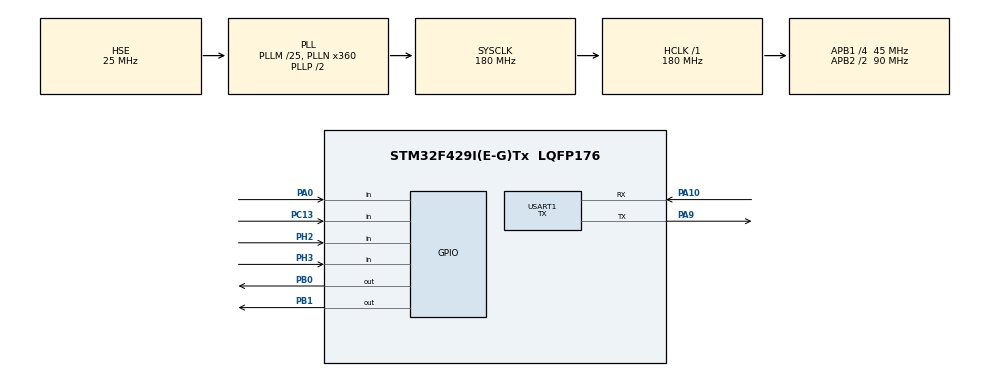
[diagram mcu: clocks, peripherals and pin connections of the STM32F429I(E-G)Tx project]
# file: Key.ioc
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Mcu.Family=STM32F4
Mcu.Name=STM32F429I(E-G)Tx
Mcu.Package=LQFP176
NVIC.PriorityGroup=NVIC_PRIORITYGROUP_4
PA0/WKUP.GPIO_PuPd=GPIO_PULLDOWN
PA0/WKUP.Signal=GPIO_Input
PA10.Mode=Asynchronous
PA10.Signal=USART1_RX
PA9.Mode=Asynchronous
PA9.Signal=USART1_TX
PB0.GPIO_ModeDefaultOutputPP=GPIO_MODE_OUTPUT_PP
PB0.GPIO_PuPd=GPIO_PULLUP
PB0.GPIO_Speed=GPIO_SPEED_FREQ_LOW
PB0.PinState=GPIO_PIN_SET
PB0.Signal=GPIO_Output
PB1.GPIO_PuPd=GPIO_PULLUP
PB1.GPIO_Speed=GPIO_SPEED_FREQ_LOW
PB1.PinState=GPIO_PIN_SET
PB1.Signal=GPIO_Output
PC13.GPIO_PuPd=GPIO_PULLUP
PC13.Signal=GPIO_Input
PH0/OSC_IN.Mode=HSE-External-Oscillator
PH0/OSC_IN.Signal=RCC_OSC_IN
PH1/OSC_OUT.Mode=HSE-External-Oscillator
PH1/OSC_OUT.Signal=RCC_OSC_OUT
PH2.GPIO_PuPd=GPIO_PULLUP
PH2.Signal=GPIO_Input
PH3.GPIO_PuPd=GPIO_PULLUP
PH3.Signal=GPIO_Input
ProjectManager.HeapSize=0x200
ProjectManager.StackSize=0x400
ProjectManager.TargetToolchain=MDK-ARM V5
RCC.48MHZClocksFreq_Value=90000000
RCC.AHBFreq_Value=180000000
RCC.APB1CLKDivider=RCC_HCLK_DIV4
RCC.APB1Freq_Value=45000000
RCC.APB1TimFreq_Value=90000000
RCC.APB2CLKDivider=RCC_HCLK_DIV2
RCC.APB2Freq_Value=90000000
RCC.APB2TimFreq_Value=180000000
RCC.CortexFreq_Value=180000000
RCC.HCLKFreq_Value=180000000
RCC.HSE_VALUE=25000000
RCC.HSI_VALUE=16000000
RCC.LSE_VALUE=32768
RCC.PLLM=25
RCC.PLLN=360
RCC.PLLSourceVirtual=RCC_PLLSOURCE_HSE
RCC.SYSCLKFreq_VALUE=180000000
RCC.SYSCLKSource=RCC_SYSCLKSOURCE_PLLCLK
RCC.VCOOutputFreq_Value=360000000
USART1.Mode=MODE_TX
USART1.VirtualMode=VM_ASYNC
board=demo1_key

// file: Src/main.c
/* USER CODE BEGIN Header */
/**
  ******************************************************************************
  * @file           : main.c
  * @brief          : Main program body
  ******************************************************************************
  * @attention
  *
  * <h2><center>&copy; Copyright (c) 2021 STMicroelectronics.
  * All rights reserved.</center></h2>
  *
  * This software component is licensed by ST under BSD 3-Clause license,
  * the "License"; You may not use this file except in compliance with the
  * License. You may obtain a copy of the License at:
  *                        opensource.org/licenses/BSD-3-Clause
  *
  ******************************************************************************
  */
/* USER CODE END Header */
#include "main.h"

/* USER CODE BEGIN Includes */

#include "key.h"
#include "sys.h"

/* USER CODE END Includes */

UART_HandleTypeDef huart1;

/* USER CODE BEGIN PV */
/* Private variables ---------------------------------------------------------*/

/* USER CODE END PV */

void SystemClock_Config(void);
static void MX_GPIO_Init(void);
static void MX_USART1_UART_Init(void);
/* USER CODE BEGIN PFP */
/* Private function prototypes -----------------------------------------------*/

/* USER CODE END PFP */

int main(void)
{

    /* MCU Configuration--------------------------------------------------------*/

    /* Reset of all peripherals, Initializes the Flash interface and the Systick. */
    HAL_Init();

    /* Configure the system clock */
    SystemClock_Config();

    /* Initialize all configured peripherals */
    MX_GPIO_Init();
    MX_USART1_UART_Init();
    /* USER CODE BEGIN 2 */

    uint32_t timeMs = 0;
    uint32_t time10Ms = 0;

    /* USER CODE END 2 */

    /* Infinite loop */
    /* USER CODE BEGIN WHILE */
    while (1)
    {
        timeMs = HAL_GetTick();

        /* KEY */
        KeyResetEdge();
        if (timeMs - time10Ms >= 10)
        {
            time10Ms = timeMs;
            KeyScan();
        }

        /* LED */
        if (KeyGetEdgeActive() & KEY_0)
        {
            set_led_0 = !set_led_0;
            set_led_1 = set_led_0;
        }
        if (KeyGetEdgeActive() & KEY_1)
        {
            set_led_1 = !set_led_1;
        }
        if (KeyGetEdgeActive() & KEY_2)
        {
            set_led_0 = !set_led_0;
        }
        if (KeyGetEdgeActive() & KEY_WKUP)
        {
            set_led_0 = !set_led_0;
            set_led_1 = !set_led_0;
        }
        /* USER CODE END WHILE */

    }
}

void SystemClock_Config(void)
{
    RCC_OscInitTypeDef RCC_OscInitStruct = {0};
    RCC_ClkInitTypeDef RCC_ClkInitStruct = {0};

    /** Configure the main internal regulator output voltage
  */
    __HAL_RCC_PWR_CLK_ENABLE();
    __HAL_PWR_VOLTAGESCALING_CONFIG(PWR_REGULATOR_VOLTAGE_SCALE1);
    /** Initializes the RCC Oscillators according to the specified parameters
  * in the RCC_OscInitTypeDef structure.
  */
    RCC_OscInitStruct.OscillatorType = RCC_OSCILLATORTYPE_HSE;
    RCC_OscInitStruct.HSEState = RCC_HSE_ON;
    RCC_OscInitStruct.PLL.PLLState = RCC_PLL_ON;
    RCC_OscInitStruct.PLL.PLLSource = RCC_PLLSOURCE_HSE;
    RCC_OscInitStruct.PLL.PLLM = 25;
    RCC_OscInitStruct.PLL.PLLN = 360;
    RCC_OscInitStruct.PLL.PLLP = RCC_PLLP_DIV2;
    RCC_OscInitStruct.PLL.PLLQ = 4;
    if (HAL_RCC_OscConfig(&RCC_OscInitStruct) != HAL_OK)
    {
        Error_Handler();
    }
    /** Activate the Over-Drive mode
  */
    if (HAL_PWREx_EnableOverDrive() != HAL_OK)
    {
        Error_Handler();
    }
    /** Initializes the CPU, AHB and APB buses clocks
  */
    RCC_ClkInitStruct.ClockType = RCC_CLOCKTYPE_HCLK | RCC_CLOCKTYPE_SYSCLK | RCC_CLOCKTYPE_PCLK1 | RCC_CLOCKTYPE_PCLK2;
    RCC_ClkInitStruct.SYSCLKSource = RCC_SYSCLKSOURCE_PLLCLK;
    RCC_ClkInitStruct.AHBCLKDivider = RCC_SYSCLK_DIV1;
    RCC_ClkInitStruct.APB1CLKDivider = RCC_HCLK_DIV4;
    RCC_ClkInitStruct.APB2CLKDivider = RCC_HCLK_DIV2;

    if (HAL_RCC_ClockConfig(&RCC_ClkInitStruct, FLASH_LATENCY_5) != HAL_OK)
    {
        Error_Handler();
    }
}

static void MX_USART1_UART_Init(void)
{

    huart1.Instance = USART1;
    huart1.Init.BaudRate = 115200;
    huart1.Init.WordLength = UART_WORDLENGTH_8B;
    huart1.Init.StopBits = UART_STOPBITS_1;
    huart1.Init.Parity = UART_PARITY_NONE;
    huart1.Init.Mode = UART_MODE_TX;
    huart1.Init.HwFlowCtl = UART_HWCONTROL_NONE;
    huart1.Init.OverSampling = UART_OVERSAMPLING_16;
    if (HAL_UART_Init(&huart1) != HAL_OK)
    {
        Error_Handler();
    }
}

static void MX_GPIO_Init(void)
{
    GPIO_InitTypeDef GPIO_InitStruct = {0};

    /* GPIO Ports Clock Enable */
    __HAL_RCC_GPIOC_CLK_ENABLE();
    __HAL_RCC_GPIOH_CLK_ENABLE();
    __HAL_RCC_GPIOA_CLK_ENABLE();
    __HAL_RCC_GPIOB_CLK_ENABLE();

    /*Configure GPIO pin Output Level */
    HAL_GPIO_WritePin(GPIOB, GPIO_PIN_0 | GPIO_PIN_1, GPIO_PIN_SET);

    /*Configure GPIO pin : PC13 */
    GPIO_InitStruct.Pin = GPIO_PIN_13;
    GPIO_InitStruct.Mode = GPIO_MODE_INPUT;
    GPIO_InitStruct.Pull = GPIO_PULLUP;
    HAL_GPIO_Init(GPIOC, &GPIO_InitStruct);

    /*Configure GPIO pin : PA0 */
    GPIO_InitStruct.Pin = GPIO_PIN_0;
    GPIO_InitStruct.Mode = GPIO_MODE_INPUT;
    GPIO_InitStruct.Pull = GPIO_PULLDOWN;
    HAL_GPIO_Init(GPIOA, &GPIO_InitStruct);

    /*Configure GPIO pins : PH2 PH3 */
    GPIO_InitStruct.Pin = GPIO_PIN_2 | GPIO_PIN_3;
    GPIO_InitStruct.Mode = GPIO_MODE_INPUT;
    GPIO_InitStruct.Pull = GPIO_PULLUP;
    HAL_GPIO_Init(GPIOH, &GPIO_InitStruct);

    /*Configure GPIO pins : PB0 PB1 */
    GPIO_InitStruct.Pin = GPIO_PIN_0 | GPIO_PIN_1;
    GPIO_InitStruct.Mode = GPIO_MODE_OUTPUT_PP;
    GPIO_InitStruct.Pull = GPIO_PULLUP;
    GPIO_InitStruct.Speed = GPIO_SPEED_FREQ_LOW;
    HAL_GPIO_Init(GPIOB, &GPIO_InitStruct);
}

void Error_Handler(void)
{
    __disable_irq();
    while (1)
    {
    }
}

/************************ (C) COPYRIGHT STMicroelectronics *****END OF FILE****/
